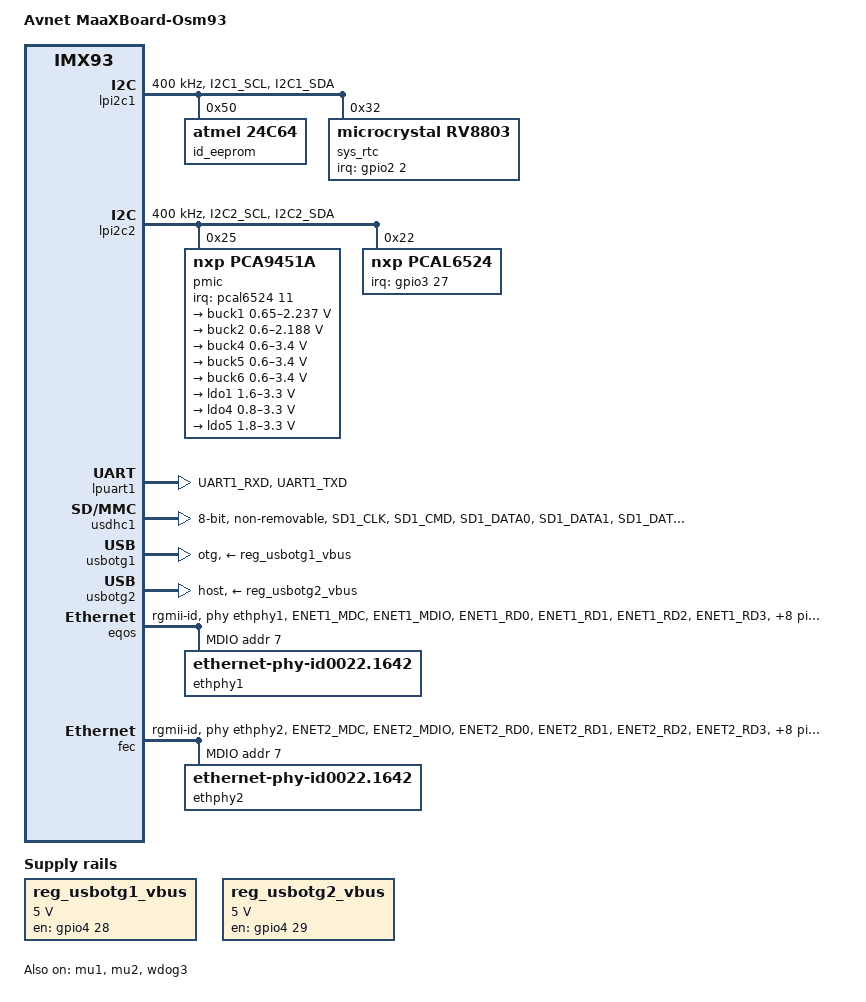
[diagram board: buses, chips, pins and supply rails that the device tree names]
// SPDX-License-Identifier: (GPL-2.0+ OR MIT)
/*
 * Copyright 2025 Avnet
 */

/dts-v1/;

#include <dt-bindings/usb/pd.h>
#include "imx93.dtsi"

/ {
    model = "Avnet MaaXBoard-Osm93";
    compatible = "avnet,maaxboard-osm93", "fsl,imx93";

    chosen {
        bootargs = "console=ttyLP0,115200";
        stdout-path = &lpuart1;
    };

    reserved-memory {
        #address-cells = <2>;
        #size-cells = <2>;
        ranges;

        linux,cma {
            compatible = "shared-dma-pool";
            reusable;
            alloc-ranges = <0 0x80000000 0 0x40000000>;
            size = <0 0x10000000>;
            linux,cma-default;
        };
    };

    reg_usbotg1_vbus: regulator-usbotg1-vbus {
        compatible = "regulator-fixed";
        pinctrl-names = "default";
        pinctrl-0 = <&pinctrl_reg_usbotg1>;
        regulator-name = "regulator-usbotg1-vbus";
        gpio = <&gpio4 28 GPIO_ACTIVE_HIGH>;
        regulator-min-microvolt = <5000000>;
        regulator-max-microvolt = <5000000>;
        enable-active-high;
    };
    reg_usbotg2_vbus: regulator-usbotg2-vbus {
        compatible = "regulator-fixed";
        pinctrl-names = "default";
        pinctrl-0 = <&pinctrl_reg_usbotg2>;
        regulator-name = "regulator-usbotg2-vbus";
        gpio = <&gpio4 29 GPIO_ACTIVE_HIGH>;
        regulator-min-microvolt = <5000000>;
        regulator-max-microvolt = <5000000>;
        enable-active-high;
    };

    leds {
        compatible = "gpio-leds";
        pinctrl-names = "default";
        pinctrl-0 = <&pinctrl_gpio_leds>;
        status = "disabled";

        ledred {
            gpios = <&gpio2 12 GPIO_ACTIVE_HIGH>;
            default-state = "on";
        };
    };
};

&mu1 {
    status = "okay";
};

&mu2 {
    status = "okay";
};

/* I2C_A */
&lpi2c1 {
    #address-cells = <1>;
    #size-cells = <0>;
    clock-frequency = <400000>;
    pinctrl-names = "default", "sleep";
    pinctrl-0 = <&pinctrl_lpi2c1>;
    pinctrl-1 = <&pinctrl_lpi2c1>;
    status = "okay";

    id_eeprom: eeprom@50 {
        compatible = "atmel,24c64";
        reg = <0x50>;
        status = "okay";
    };

    sys_rtc: rtc@32 {
        pinctrl-names = "default";
        pinctrl-0 = <&pinctrl_rtc>;
        compatible = "microcrystal,rv8803";
        reg = <0x32>;
        interrupt-parent = <&gpio2>;
        interrupts = <2 IRQ_TYPE_LEVEL_LOW>;
        wakeup-source;
    };
};

/* I2C_B */
&lpi2c2 {
    #address-cells = <1>;
    #size-cells = <0>;
    clock-frequency = <400000>;
    pinctrl-names = "default", "sleep";
    pinctrl-0 = <&pinctrl_lpi2c2>;
    pinctrl-1 = <&pinctrl_lpi2c2>;
    status = "okay";

    pmic@25 {
        compatible = "nxp,pca9451a";
        reg = <0x25>;
        interrupt-parent = <&pcal6524>;
        interrupts = <11 IRQ_TYPE_LEVEL_LOW>;

        regulators {
            buck1: BUCK1 {
                regulator-name = "BUCK1";
                regulator-min-microvolt = <650000>;
                regulator-max-microvolt = <2237500>;
                regulator-boot-on;
                regulator-always-on;
                regulator-ramp-delay = <3125>;
            };

            buck2: BUCK2 {
                regulator-name = "BUCK2";
                regulator-min-microvolt = <600000>;
                regulator-max-microvolt = <2187500>;
                regulator-boot-on;
                regulator-always-on;
                regulator-ramp-delay = <3125>;
            };

            buck4: BUCK4{
                regulator-name = "BUCK4";
                regulator-min-microvolt = <600000>;
                regulator-max-microvolt = <3400000>;
                regulator-boot-on;
                regulator-always-on;
            };

            buck5: BUCK5{
                regulator-name = "BUCK5";
                regulator-min-microvolt = <600000>;
                regulator-max-microvolt = <3400000>;
                regulator-boot-on;
                regulator-always-on;
            };

            buck6: BUCK6 {
                regulator-name = "BUCK6";
                regulator-min-microvolt = <600000>;
                regulator-max-microvolt = <3400000>;
                regulator-boot-on;
                regulator-always-on;
            };

            ldo1: LDO1 {
                regulator-name = "LDO1";
                regulator-min-microvolt = <1600000>;
                regulator-max-microvolt = <3300000>;
                regulator-boot-on;
                regulator-always-on;
            };

            ldo4: LDO4 {
                regulator-name = "LDO4";
                regulator-min-microvolt = <800000>;
                regulator-max-microvolt = <3300000>;
                regulator-boot-on;
                regulator-always-on;
            };

            ldo5: LDO5 {
                regulator-name = "LDO5";
                regulator-min-microvolt = <1800000>;
                regulator-max-microvolt = <3300000>;
                regulator-boot-on;
                regulator-always-on;
            };
        };
    };

    pcal6524: gpio@22 {
        compatible = "nxp,pcal6524";
        pinctrl-names = "default";
        pinctrl-0 = <&pinctrl_pcal6524>;
        reg = <0x22>;
        gpio-controller;
        #gpio-cells = <2>;
        interrupt-controller;
        #interrupt-cells = <2>;
        interrupt-parent = <&gpio3>;
        interrupts = <27 IRQ_TYPE_LEVEL_LOW>;
    };
};

&lpuart1 { /* console */
    pinctrl-names = "default";
    pinctrl-0 = <&pinctrl_uart1>;
    status = "okay";
};

&wdog3 {
    status = "okay";
};

&usdhc1 {
    pinctrl-names = "default", "state_100mhz", "state_200mhz";
    pinctrl-0 = <&pinctrl_usdhc1>;
    pinctrl-1 = <&pinctrl_usdhc1_100mhz>;
    pinctrl-2 = <&pinctrl_usdhc1_200mhz>;
    bus-width = <8>;
    non-removable;
    status = "okay";
};

&usbotg1 {
    dr_mode = "otg";
    hnp-disable;
    srp-disable;
    adp-disable;
    usb-role-switch;
    disable-over-current;
    samsung,picophy-pre-emp-curr-control = <3>;
    samsung,picophy-dc-vol-level-adjust = <7>;
    vbus-supply = <&reg_usbotg1_vbus>;
    status = "okay";
};

&usbotg2 {
    dr_mode = "host";
    disable-over-current;
    samsung,picophy-pre-emp-curr-control = <3>;
    samsung,picophy-dc-vol-level-adjust = <7>;
    vbus-supply = <&reg_usbotg2_vbus>;
    status = "okay";
};

&eqos {
    pinctrl-names = "default";
    pinctrl-0 = <&pinctrl_eqos>;
    phy-mode = "rgmii-id";
    phy-handle = <&ethphy1>;
    status = "okay";
    mdio {
        compatible = "snps,dwmac-mdio";
        #address-cells = <1>;
        #size-cells = <0>;
        ethphy1: ethernet-phy@7 {
            compatible = "ethernet-phy-id0022.1642",
                            "ethernet-phy-ieee802.3-c22";
            reg = <7>;
            eee-broken-100tx;
            eee-broken-1000t;
        };
    };
};

&fec {
    pinctrl-names = "default";
    pinctrl-0 = <&pinctrl_fec>;
    phy-mode = "rgmii-id";
    phy-handle = <&ethphy2>;
    fsl,magic-packet;
    status = "okay";
    mdio {
        #address-cells = <1>;
        #size-cells = <0>;
        clock-frequency = <5000000>;
        ethphy2: ethernet-phy@7 {
            compatible = "ethernet-phy-id0022.1642",
                        "ethernet-phy-ieee802.3-c22";
            reg = <7>;
            eee-broken-100tx;
            eee-broken-1000t;
        };
    };
};

&iomuxc {
    /* I2C_A */
    pinctrl_lpi2c1: lpi2c1grp {
        fsl,pins = <
            MX93_PAD_I2C1_SCL__LPI2C1_SCL           0x4000087e
            MX93_PAD_I2C1_SDA__LPI2C1_SDA           0x4000087e
        >;
    };

    /* I2C_B */
    pinctrl_lpi2c2: lpi2c2grp {
        fsl,pins = <
            MX93_PAD_I2C2_SCL__LPI2C2_SCL           0x40000b9e
            MX93_PAD_I2C2_SDA__LPI2C2_SDA           0x40000b9e
        >;
    };

    pinctrl_pcal6524: pcal6524grp {
        fsl,pins = <
            MX93_PAD_CCM_CLKO2__GPIO3_IO27          0x31e
        >;
    };

    pinctrl_uart1: uart1grp {
        fsl,pins = <
            MX93_PAD_UART1_RXD__LPUART1_RX          0x31e
            MX93_PAD_UART1_TXD__LPUART1_TX          0x31e
        >;
    };

    /* need to config the SION for data and cmd pad, refer to ERR052021 */
    pinctrl_usdhc1: usdhc1grp {
        fsl,pins = <
            MX93_PAD_SD1_CLK__USDHC1_CLK        0x1582
            MX93_PAD_SD1_CMD__USDHC1_CMD        0x40001382
            MX93_PAD_SD1_DATA0__USDHC1_DATA0    0x40001382
            MX93_PAD_SD1_DATA1__USDHC1_DATA1    0x40001382
            MX93_PAD_SD1_DATA2__USDHC1_DATA2    0x40001382
            MX93_PAD_SD1_DATA3__USDHC1_DATA3    0x40001382
            MX93_PAD_SD1_DATA4__USDHC1_DATA4    0x40001382
            MX93_PAD_SD1_DATA5__USDHC1_DATA5    0x40001382
            MX93_PAD_SD1_DATA6__USDHC1_DATA6    0x40001382
            MX93_PAD_SD1_DATA7__USDHC1_DATA7    0x40001382
            MX93_PAD_SD1_STROBE__USDHC1_STROBE  0x1582
        >;
    };

    /* need to config the SION for data and cmd pad, refer to ERR052021 */
    pinctrl_usdhc1_100mhz: usdhc1-100mhzgrp {
        fsl,pins = <
            MX93_PAD_SD1_CLK__USDHC1_CLK        0x158e
            MX93_PAD_SD1_CMD__USDHC1_CMD        0x4000138e
            MX93_PAD_SD1_DATA0__USDHC1_DATA0    0x4000138e
            MX93_PAD_SD1_DATA1__USDHC1_DATA1    0x4000138e
            MX93_PAD_SD1_DATA2__USDHC1_DATA2    0x4000138e
            MX93_PAD_SD1_DATA3__USDHC1_DATA3    0x4000138e
            MX93_PAD_SD1_DATA4__USDHC1_DATA4    0x4000138e
            MX93_PAD_SD1_DATA5__USDHC1_DATA5    0x4000138e
            MX93_PAD_SD1_DATA6__USDHC1_DATA6    0x4000138e
            MX93_PAD_SD1_DATA7__USDHC1_DATA7    0x4000138e
            MX93_PAD_SD1_STROBE__USDHC1_STROBE  0x158e
        >;
    };

    /* need to config the SION for data and cmd pad, refer to ERR052021 */
    pinctrl_usdhc1_200mhz: usdhc1-200mhzgrp {
        fsl,pins = <
            MX93_PAD_SD1_CLK__USDHC1_CLK        0x15fe
            MX93_PAD_SD1_CMD__USDHC1_CMD        0x400013fe
            MX93_PAD_SD1_DATA0__USDHC1_DATA0    0x400013fe
            MX93_PAD_SD1_DATA1__USDHC1_DATA1    0x400013fe
            MX93_PAD_SD1_DATA2__USDHC1_DATA2    0x400013fe
            MX93_PAD_SD1_DATA3__USDHC1_DATA3    0x400013fe
            MX93_PAD_SD1_DATA4__USDHC1_DATA4    0x400013fe
            MX93_PAD_SD1_DATA5__USDHC1_DATA5    0x400013fe
            MX93_PAD_SD1_DATA6__USDHC1_DATA6    0x400013fe
            MX93_PAD_SD1_DATA7__USDHC1_DATA7    0x400013fe
            MX93_PAD_SD1_STROBE__USDHC1_STROBE  0x15fe
        >;
    };

    pinctrl_reg_usbotg1: regusbotg1grp {
        fsl,pins = <
            MX93_PAD_CCM_CLKO3__GPIO4_IO28                  0x51e
        >;
    };

    pinctrl_reg_usbotg2: regusbotg2grp {
        fsl,pins = <
            MX93_PAD_CCM_CLKO4__GPIO4_IO29                  0x51e
        >;
    };

    pinctrl_eqos: eqosgrp {
        fsl,pins = <
            MX93_PAD_ENET1_MDC__ENET_QOS_MDC                        0x57e
            MX93_PAD_ENET1_MDIO__ENET_QOS_MDIO                      0x57e
            MX93_PAD_ENET1_RD0__ENET_QOS_RGMII_RD0                  0x57e
            MX93_PAD_ENET1_RD1__ENET_QOS_RGMII_RD1                  0x57e
            MX93_PAD_ENET1_RD2__ENET_QOS_RGMII_RD2                  0x57e
            MX93_PAD_ENET1_RD3__ENET_QOS_RGMII_RD3                  0x57e
            MX93_PAD_ENET1_RXC__CCM_ENET_QOS_CLOCK_GENERATE_RX_CLK  0x5fe
            MX93_PAD_ENET1_RX_CTL__ENET_QOS_RGMII_RX_CTL            0x57e
            MX93_PAD_ENET1_TD0__ENET_QOS_RGMII_TD0                  0x57e
            MX93_PAD_ENET1_TD1__ENET_QOS_RGMII_TD1                  0x57e
            MX93_PAD_ENET1_TD2__ENET_QOS_RGMII_TD2                  0x57e
            MX93_PAD_ENET1_TD3__ENET_QOS_RGMII_TD3                  0x57e
            MX93_PAD_ENET1_TXC__CCM_ENET_QOS_CLOCK_GENERATE_TX_CLK  0x5fe
            MX93_PAD_ENET1_TX_CTL__ENET_QOS_RGMII_TX_CTL            0x57e
        >;
    };

    pinctrl_fec: fecgrp {
        fsl,pins = <
            MX93_PAD_ENET2_MDC__ENET1_MDC                   0x57e
            MX93_PAD_ENET2_MDIO__ENET1_MDIO                 0x57e
            MX93_PAD_ENET2_RD0__ENET1_RGMII_RD0             0x57e
            MX93_PAD_ENET2_RD1__ENET1_RGMII_RD1             0x57e
            MX93_PAD_ENET2_RD2__ENET1_RGMII_RD2             0x57e
            MX93_PAD_ENET2_RD3__ENET1_RGMII_RD3             0x57e
            MX93_PAD_ENET2_RXC__ENET1_RGMII_RXC             0x5fe
            MX93_PAD_ENET2_RX_CTL__ENET1_RGMII_RX_CTL       0x57e
            MX93_PAD_ENET2_TD0__ENET1_RGMII_TD0             0x57e
            MX93_PAD_ENET2_TD1__ENET1_RGMII_TD1             0x57e
            MX93_PAD_ENET2_TD2__ENET1_RGMII_TD2             0x57e
            MX93_PAD_ENET2_TD3__ENET1_RGMII_TD3             0x57e
            MX93_PAD_ENET2_TXC__ENET1_RGMII_TXC             0x5fe
            MX93_PAD_ENET2_TX_CTL__ENET1_RGMII_TX_CTL       0x57e
        >;
    };

    pinctrl_gpio_leds: gpioleds {
        fsl,pins = <
            MX93_PAD_GPIO_IO12__GPIO2_IO12      0x51e
        >;
    };

    pinctrl_rtc: rtcgrp {
        fsl,pins = <
            MX93_PAD_GPIO_IO02__GPIO2_IO02          0x111e
        >;
    };
};
